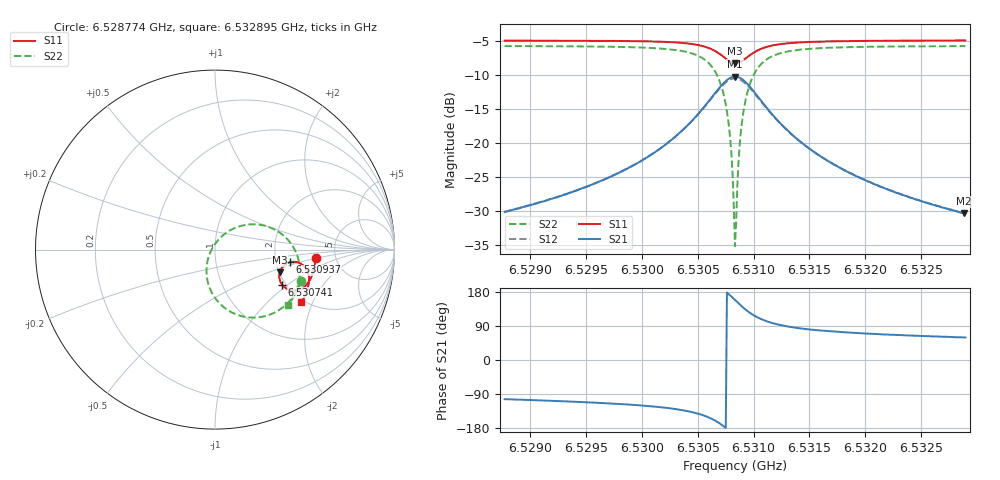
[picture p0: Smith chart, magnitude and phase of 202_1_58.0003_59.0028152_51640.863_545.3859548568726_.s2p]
#  HZ  S  RI  R  50.00
! Rohde & Schwarz Vector Network Analyzer
! Rohde-Schwarz,ZNB20-2Port,1311601062101988,3.16
! Created: UTC 3/21/2024, 12:59:17 AM
! freq[Hz]  re:S11  im:S11  re:S21  im:S21  re:S12  im:S12  re:S22  im:S22
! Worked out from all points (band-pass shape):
!   401 points, 6.528774 GHz to 6.532895 GHz, reference 50 ohm
!   highest |S21| = -10.27 dB at 6.530834 GHz (marker M1); lowest = -30.4 dB at 6.532884 GHz (marker M2)
!   |S21| within 3 dB of the highest: 6.530629 GHz to 6.531041 GHz (412 kHz wide, 0.00631 % of centre)
!   lowest |S11| = -8.3 dB at 6.530834 GHz (marker M3), VSWR 2.24, Z = 101 - j29.7 ohm
!   |S11| at or under -10 dB: nowhere
!   |S22| runs from -35.2 to -5.8 dB; largest |S21 - S12| = 0.012
!   S11 on the Smith chart (normalised r, x): 6.528774 GHz: 3.49, -0.51; 6.530741 GHz: 1.91, -0.91; 6.530937 GHz: 2.37, -0.41; 6.532895 GHz: 1.92, -1.66
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6.5287736e9  0.5604 -0.0496  -0.00719 -0.0303  -0.00777 -0.0301  0.4816 -0.1775
6.5294639e9  0.5511 -0.1073  -0.0167 -0.0432  -0.0176 -0.0428  0.4498 -0.2409
6.5301542e9  0.5241 -0.1767  -0.0502 -0.0741  -0.0523 -0.0726  0.3672 -0.3299
6.5303911e9  0.4977 -0.2072  -0.09 -0.0935  -0.0928 -0.0904  0.2859 -0.3688
6.5305663e9  0.4542 -0.227  -0.1581 -0.1002  -0.1605 -0.0936  0.1598 -0.3736
6.5306693e9  0.4092 -0.2224  -0.2276 -0.0736  -0.2269 -0.0639  0.0433 -0.3163
6.5307414e9  0.3741 -0.1954  -0.2788 -0.0151  -0.2731 -0.00508  -0.0317 -0.208
6.5307826e9  0.3607 -0.1677  -0.2948 0.0379  -0.2858 0.0461  -0.0475 -0.1172
6.5308032e9  0.3581 -0.1512  -0.2953 0.068  -0.2851 0.0745  -0.0426 -0.068
6.5308238e9  0.3592 -0.1343  -0.2899 0.0983  -0.279 0.103  -0.0278 -0.0193
6.5308341e9  0.3611 -0.1259  -0.285 0.1131  -0.2739 0.1168  -0.017 0.00397
6.5308444e9  0.3639 -0.1178  -0.2785 0.1275  -0.2674 0.13  -0.00349 0.0259
6.5308547e9  0.3675 -0.11  -0.2706 0.1408  -0.2597 0.1426  0.0117 0.0465
6.5308754e9  0.377 -0.0961  -0.2517 0.1649  -0.2414 0.1648  0.0472 0.0821
6.5308857e9  0.3827 -0.09  -0.2408 0.1751  -0.2311 0.1744  0.0671 0.0967
6.5309372e9  0.4156 -0.0711  -0.1806 0.2073  -0.1737 0.2042  0.1724 0.1381
6.5310093e9  0.4585 -0.0704  -0.1052 0.2092  -0.1017 0.2062  0.2987 0.1263
6.5311123e9  0.4962 -0.0921  -0.0405 0.1785  -0.0388 0.1768  0.403 0.0582
6.5315244e9  0.524 -0.1714  0.0154 0.0862  0.0165 0.086  0.473 -0.1348
6.5322147e9  0.5067 -0.243  0.0178 0.0414  0.0184 0.0412  0.4433 -0.2506
6.5328844e9  0.482 -0.2939  0.0154 0.0261  0.016 0.0258  0.4087 -0.3095
6.5328947e9  0.4814 -0.2947  0.0154 0.0261  0.016 0.0257  0.4085 -0.3104
